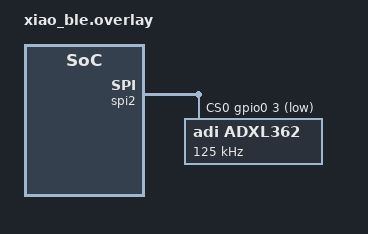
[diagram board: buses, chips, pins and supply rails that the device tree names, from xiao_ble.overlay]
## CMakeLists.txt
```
cmake_minimum_required(VERSION 3.20.0)
find_package(Zephyr REQUIRED HINTS $ENV{ZEPHYR_BASE})

project(spi)

target_sources(app PRIVATE src/main.c)
# target_sources(app PRIVATE src/adxl362.c)
# target_sources(app PRIVATE src/adxl362.h)
# zephyr_library_sources(adxl362.c)
# zephyr_library_sources_ifdef(CONFIG_ADXL362_TRIGGER adxl362_trigger.c)
```

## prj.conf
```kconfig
CONFIG_SPI=y
CONFIG_GPIO=y
CONFIG_SENSOR=y
CONFIG_SPI_ASYNC=y
CONFIG_SPI_NRFX=y
```

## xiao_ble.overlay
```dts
// To get started, press Ctrl+Space to bring up the completion menu and view the available nodes.

// You can also use the buttons in the sidebar to perform actions on nodes.
// Actions currently available include:

// * Enabling / disabling the node
// * Adding the bus to a bus
// * Removing the node
// * Connecting ADC channels

// For more help, browse the DeviceTree documentation at https: //docs.zephyrproject.org/latest/guides/dts/index.html
// You can also visit the nRF DeviceTree extension documentation at https: //nrfconnect.github.io/vscode-nrf-connect/devicetree/nrfdevicetree.html
&spi2 {
    compatible = "nordic,nrf-spi"; //using SPI as per ERRATA 58
    status = "okay";
    pinctrl-0 = <&spi2_default>;
    pinctrl-1 = <&spi2_sleep>;
    pinctrl-names = "default", "sleep";
    cs-gpios = <&gpio0 3 GPIO_ACTIVE_LOW>;
    // adxl: bme280@0 {
        //     compatible = "bosch,bme280";
        //     reg = <0>;
        //     spi-max-frequency = <125000>;
    // };
    adxl362: adxl362@0 {
        compatible = "adi,adxl362";
        reg = <0>;
        spi-max-frequency = <125000>;

    };
};
```

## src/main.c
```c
#include <zephyr/kernel.h>
#include <zephyr/devicetree.h>
#include <string.h>
#include <zephyr/drivers/sensor.h>
#include <zephyr/init.h>
#include <zephyr/drivers/gpio.h>
#include <zephyr/sys/byteorder.h>
#include <zephyr/sys/__assert.h>
#include <zephyr/drivers/spi.h>
#include <zephyr/logging/log.h>

// #define CHIP_ID_REG 0x02
#define READ_CMD 0x0b
// static const struct spi_config spi_cfg = {
// 	.operation = SPI_OP_MODE_MASTER | SPI_WORD_SET(8) | SPI_TRANSFER_MSB |
// 				 SPI_MODE_CPOL | SPI_MODE_CPHA,
// 	.frequency = 4000000,
// 	.slave = 0,
// };
#define SPI1_NODE DT_NODELABEL(spi2)
static const struct device *spi_dev = DEVICE_DT_GET(SPI1_NODE);

#define SPIOP SPI_WORD_SET(8) | SPI_TRANSFER_MSB
struct spi_dt_spec spispec = SPI_DT_SPEC_GET(DT_NODELABEL(adxl362), SPIOP, 0);

void adxl326Read(struct spi_dt_spec *spi, int *data, int reg, int size)
{
	uint8_t txBuff[3] = {READ_CMD, reg, 0xff};
	uint8_t rxBuffer[4];
	// tx buff
	struct spi_buf txSpiBuf = {.buf = (void *)&txBuff, .len = 4};
	struct spi_buf_set tx_spi_buf_set = {.buffers = &txSpiBuf, .count = 1};

	// rx part
	struct spi_buf rxSpiBuf = {.buf = rxBuffer, .len = 4};
	struct spi_buf_set rx_spi_buf_set = {.buffers = &rxSpiBuf, .count = 1};

	int err = spi_transceive_dt(spi, &tx_spi_buf_set, &rx_spi_buf_set);
	if (err)
	{
		printk("err in reading data\n");
	}
	// for (int i = 0; i < 4; i++
	// {
	// 	printk("%x \n", rxBuffer[i]);
	// }
	printk("data is %d\n", rxBuffer[2]);
}

int main(void)
{
#define SPIOP SPI_WORD_SET(8) | SPI_TRANSFER_MSB
	struct spi_dt_spec spispec = SPI_DT_SPEC_GET(DT_NODELABEL(adxl362), SPIOP, 0);
	int data[4];
	int reg = 0x02;
	uint8_t tx_buf[] = {0x0A, (reg & 0x7F)};
	struct spi_buf tx_spi_buf = {.buf = tx_buf, .len = sizeof(tx_buf)};
	struct spi_buf_set tx_spi_buf_set = {.buffers = &tx_spi_buf, .count = 1};

	int err = spi_write_dt(&spispec, &tx_spi_buf_set);
	if (err)
	{
		printk("writing problem \n");
		return 1;
	}
	uint8_t rxBuff[2];
	struct spi_buf rx_spi_buf = {.buf = rxBuff, .len = sizeof(rxBuff)};
	struct spi_buf_set rx_spi_buf_set = {.buffers = &rx_spi_buf, .count = 1};
	// spi_read_dt(&spispec,&rx_spi_buf_set);
	// adxl326Read(&spispec,data,0x02,4);
	// while (1)
	// {
	// 	k_sleep(K_MSEC(1000));
	// 	adxl326Read(&spispec, data, 0x14, 4);
	// }
}
```
